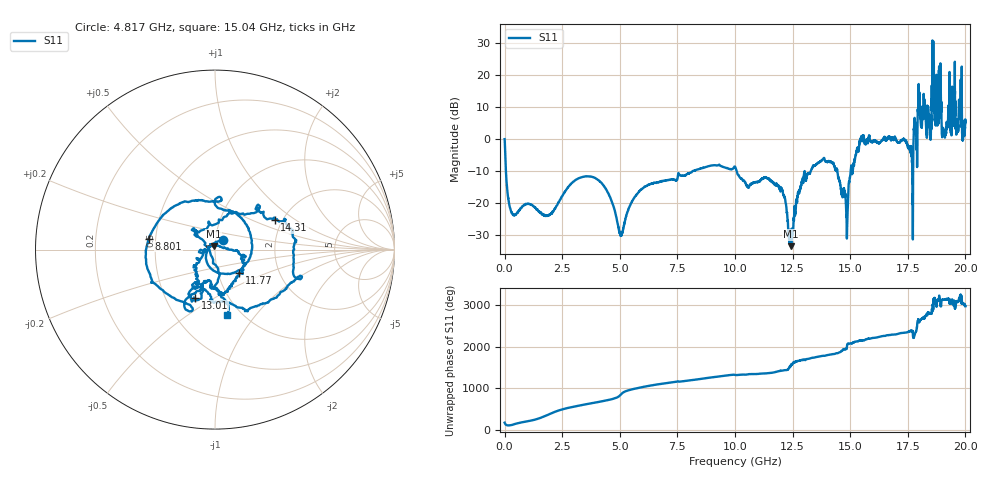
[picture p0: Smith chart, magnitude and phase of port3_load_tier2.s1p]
! Created with skrf 1.8.0 (http://scikit-rf.org).
# GHz S RI R 50.0
!freq ReS11 ImS11
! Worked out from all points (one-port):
!   10001 points, 1 MHz to 20 GHz, reference 50 ohm
!   lowest |S11| = -33.3 dB at 12.42 GHz (marker M1), VSWR 1.04, Z = 49.2 + j1.97 ohm
!   |S11| at or under -10 dB: 57.67 MHz to 8.156 GHz (8.098 GHz wide, 197 % of centre); 10.07 GHz to 13.02 GHz (2.954 GHz wide, 25.6 % of centre); 14.44 GHz to 15.02 GHz (577.8 MHz wide, 3.92 % of centre) (the widest 3 of 6)
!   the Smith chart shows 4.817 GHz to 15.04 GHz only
!   S11 on the Smith chart (normalised r, x): 4.817 GHz: 1.09, +0.11; 8.801 GHz: 0.46, +0.07; 11.77 GHz: 1.26, -0.34; 13.01 GHz: 0.70, -0.41; 14.31 GHz: 1.82, +0.70; 15.04 GHz: 0.86, -0.73
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0.001  -0.9954 0.0237
2.500875  -0.0942 0.0874
4.816759  0.045 0.0516
5.00075  -0.0105 0.0325
7.500625  0.00906 0.2395
8.80056  -0.3684 0.0612
10.0005  -0.1591 -0.3369
11.77241  0.1358 -0.1311
12.42438  -0.00793 0.02
12.50038  -0.0355 0.0162
13.01435  -0.1113 -0.2669
14.31428  0.3335 0.1664
15.00025  0.0373 -0.2658
15.04025  0.0661 -0.3643
16.44218  -0.1557 1.013
17.50013  -0.7287 -0.1431
18.0141  -0.0182 2.698
18.19009  -4.976 -0.7954
18.34608  -0.4058 -2.342
18.47008  0.3726 -1.237
18.50807  0.2346 -1.458
18.67207  -0.1272 -2.033
18.71006  -1.303 0.9772
19.01205  -0.5224 -1.131
19.21204  -0.4048 -1.463
19.40803  -1.337 -0.6562
19.79201  4.402 -2.759
20  -0.0117 1.82
